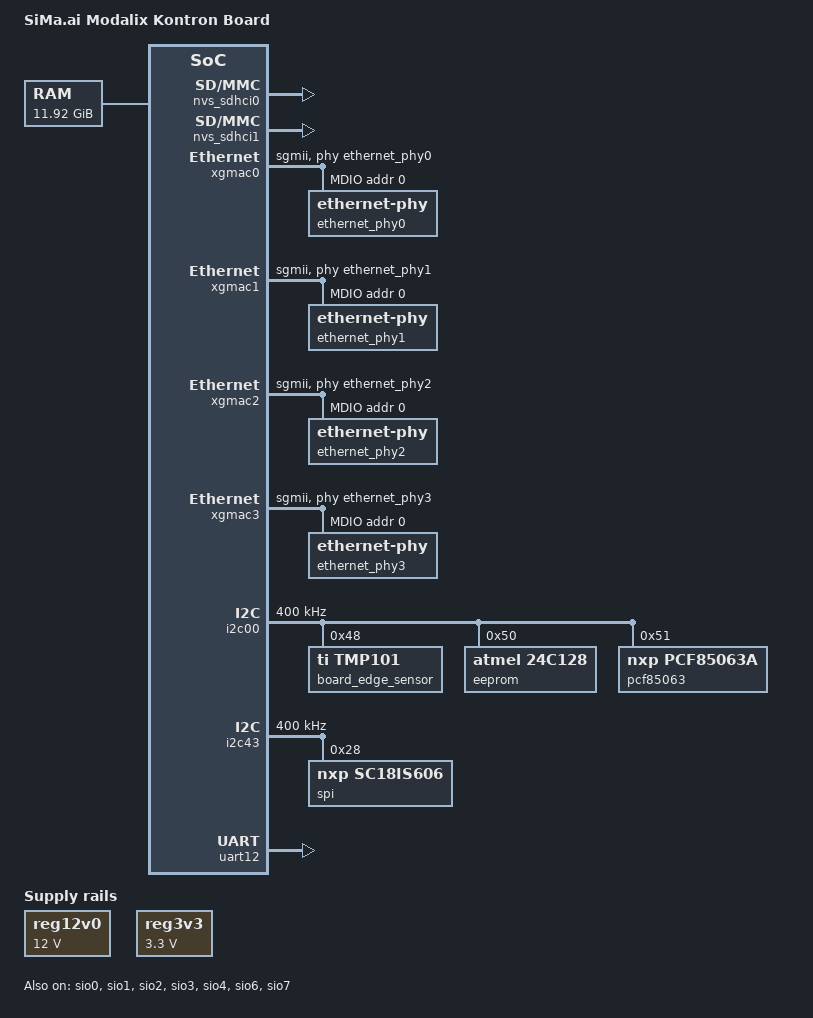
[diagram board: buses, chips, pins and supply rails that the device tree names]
// SPDX-License-Identifier: (GPL-2.0+ OR MIT)
/*
 * Copyright (c) 2026 SiMa ai
 */

/dts-v1/;

#include "modalix.dtsi"

/ {
	model = "SiMa.ai Modalix Kontron Board";

	chosen {
		bootargs = "console=ttyS0,115200n8 root=/dev/ram0 rw rootfstype=ramfs uio_pdrv_genirq.of_id=generic-uio";
		linux,initrd-start = <0x10 0x7D000000>;
		linux,initrd-end = <0x10 0x7E400000>;
	};

	aliases {
		console = &uart12;
		mmc0 = &nvs_sdhci0;
		mmc1 = &nvs_sdhci1;
		rtc0 = &pcf85063;
	};

	memory@1000000000 {
		device_type = "memory";
		reg = < 0x00000010 0x00000000 0x00000000 0x6FC00000
				0x00000010 0x75000000 0x00000002 0x8B000000>;
	};

	thermal-zones {
		board {
			polling-delay = <30000>;
			polling-delay-passive = <5000>;
			thermal-sensors = <&board_edge_sensor>;

			trips {
				board_alert: board-alert {
					temperature = <85000>;
					hysteresis = <3000>;
					type = "active";
				};
				board_crit: board-crit {
					temperature = <95000>;
					hysteresis = <2000>;
					type = "critical";
				};
			};

			cooling-maps {
				map0 {
					trip = <&board_alert>;
				};
				map1 {
					trip = <&board_crit>;
				};
			};
		};
	};

	reg12v0: fixedregulator-12v {
		compatible = "regulator-fixed";
		regulator-name = "in_supply";
		regulator-min-microvolt = <12000000>;
		regulator-max-microvolt = <12000000>;
		regulator-always-on;
	};

	reg3v3: fixedregulator-3v3 {
		compatible = "regulator-fixed";
		regulator-name = "vdd_supply";
		regulator-min-microvolt = <3300000>;
		regulator-max-microvolt = <3300000>;
		regulator-always-on;
	};
};

&dms0_reserved {
	reg = <0x00000013 0x00000000 0x00000004 0x00000000>;
};

&nvs_sdhci0 {
	status = "okay";
};

&nvs_sdhci1 {
	max-frequency = <25000000>;
	status = "okay";
};

&sio0 {
	status = "okay";
};

&sio1 {
	status = "okay";
};

&sio2 {
	status = "okay";
};

&sio3 {
	status = "okay";
};

&sio4 {
	status = "okay";
};

&sio6 {
	status = "okay";
};

&sio7 {
	status = "okay";
};

&gpio30 {
	pinctrl-0 = <&pins_gpio33_deafult>;
	pinctrl-names = "default";
	status = "okay";
};

&gpio60 {
	pinctrl-0 = <&pins_gpio60_deafult>, <&pins_gpio61_deafult>,
		    <&pins_gpio62_deafult>, <&pins_gpio63_deafult>,
		    <&pins_gpio64_deafult>, <&pins_gpio65_deafult>;
	pinctrl-names = "default";
	status = "okay";
};

&gpio70 {
	pinctrl-0 = <&pins_gpio77_deafult>;
	pinctrl-names = "default";
	status = "okay";
};

&xgmac0 {
        phy-mode = "sgmii";
        managed = "in-band-status";
        snps,ps-speed = <1000>;
        phy-handle = <&ethernet_phy0>;
        status = "okay";
        mdio0 {
                compatible = "snps,dwmac-mdio";
                #address-cells = <1>;
                #size-cells = <0>;

                ethernet_phy0: ethernet-phy@0 {
                        reg = <0>;
                };
        };
};
&xgmac1 {
        phy-mode = "sgmii";
        managed = "in-band-status";
        snps,ps-speed = <1000>;
        phy-handle = <&ethernet_phy1>;
        status = "okay";
        mdio1 {
                compatible = "snps,dwmac-mdio";
                #address-cells = <1>;
                #size-cells = <0>;

                ethernet_phy1: ethernet-phy@0 {
                        reg = <0>;
                };
        };
};
&xgmac2 {
        phy-mode = "sgmii";
        managed = "in-band-status";
        snps,ps-speed = <1000>;
        phy-handle = <&ethernet_phy2>;
        status = "okay";
        mdio2 {
                compatible = "snps,dwmac-mdio";
                #address-cells = <1>;
                #size-cells = <0>;

                ethernet_phy2: ethernet-phy@0 {
                        reg = <0>;
                };
        };
};
&xgmac3 {
        phy-mode = "sgmii";
        managed = "in-band-status";
        snps,ps-speed = <1000>;
        phy-handle = <&ethernet_phy3>;
        status = "okay";
        mdio3 {
                compatible = "snps,dwmac-mdio";
                #address-cells = <1>;
                #size-cells = <0>;

                ethernet_phy3: ethernet-phy@0 {
                        reg = <0>;
                };
        };
};

&i2c00 {
	status = "okay";
	clock-frequency = <400000>;

	board_edge_sensor: temp-sensor@48 {
		compatible = "ti,tmp101";
		reg = <0x48>;
		#thermal-sensor-cells = <0>;
	};

	eeprom@50 {
		compatible = "atmel,24c128";
		reg = <0x50>;
		pagesize = <64>;
		num-addresses = <1>;
	};

	pcf85063: rtc@51 {
		compatible = "nxp,pcf85063a";
		reg = <0x51>;
	};

};

&i2c43 {
	status = "okay";
	clock-frequency = <400000>;

	spi@28 {
		compatible = "nxp,sc18is606";
		reg = <0x28>;
		#address-cells = <1>;
		#size-cells = <0>;
	};
};

&uart12 {
	status = "okay";
};

&pcie0_ep {
	status = "okay";
};
